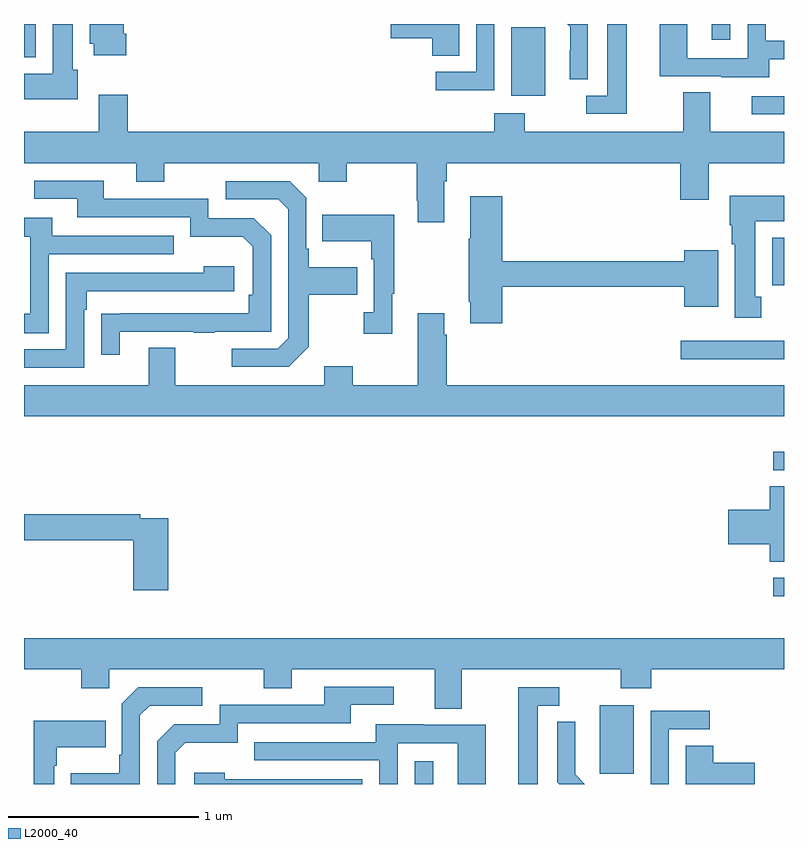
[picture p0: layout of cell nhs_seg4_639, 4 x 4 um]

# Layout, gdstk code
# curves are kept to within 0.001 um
import gdstk
lib = gdstk.Library(unit=1e-6, precision=1e-09)
def R(c, l, rs):  # rectangles x0, y0, x1, y1
    for r in rs: c.add(gdstk.rectangle(r[:2], r[2:], *l))
def P(c, l, *ps):  # polygons
    for p in ps: c.add(gdstk.Polygon(p, *l))
L2000_40 = (2000, 40)

nhs_seg4_639 = lib.new_cell('nhs_seg4_639')
R(nhs_seg4_639, L2000_40, [(145.056,778.9,145.153,779.02), (146.03,778.953,146.209,779.314), (146.943,779.887,147,779.985), (146.943,780.552,147,780.648), (146.457,781.136,147,781.233), (146.937,781.524,147,781.774), (146.829,782.424,147,782.52), (145.565,782.522,145.744,782.883), (143,782.726,143.061,782.9), (146.621,782.817,146.718,782.9)])
P(nhs_seg4_639, L2000_40, [(146.173,782.9),(146.069,782.9),(146.069,782.523),(145.959,782.523),(145.959,782.427),(146.173,782.427)],
  [(145.291,782.9),(144.93,782.9),(144.93,782.825),(145.148,782.825),(145.148,782.734),(145.291,782.734)],
  [(145.968,782.9),(145.859,782.9),(145.874,782.885),(145.874,782.762),(145.872,782.762),(145.872,782.608),(145.968,782.608)],
  [(145.476,782.9),(145.38,782.9),(145.38,782.649),(145.167,782.649),(145.167,782.551),(145.476,782.551)],
  [(143.537,782.848),(143.524,782.848),(143.524,782.9),(143.345,782.9),(143.345,782.796),(143.366,782.796),(143.366,782.736),(143.537,782.736)],
  [(143.284,782.658),(143.257,782.658),(143.257,782.9),(143.15,782.9),(143.15,782.638),(143,782.638),(143,782.504),(143.284,782.504)],
  [(146.923,782.715),(147,782.715),(147,782.811),(146.904,782.811),(146.904,782.9),(146.808,782.9),(146.808,782.721),(146.49,782.721),(146.49,782.9),(146.345,782.9),(146.345,782.625),(146.669,782.625),(146.669,782.621),(146.923,782.621)],
  [(143.546,782.527),(143.393,782.527),(143.393,782.332),(143,782.332),(143,782.168),(143.591,782.168),(143.591,782.069),(143.739,782.069),(143.739,782.168),(144.552,782.168),(144.552,782.069),(144.699,782.069),(144.699,782.168),(145.066,782.168),(145.066,781.969),(145.073,781.969),(145.073,781.857),(145.213,781.857),(145.213,782.072),(145.226,782.072),(145.226,782.168),(146.453,782.168),(146.453,781.974),(146.605,781.974),(146.605,782.168),(147,782.168),(147,782.332),(146.611,782.332),(146.611,782.54),(146.471,782.54),(146.471,782.332),(145.635,782.332),(145.635,782.431),(145.475,782.431),(145.475,782.332),(143.546,782.332)],
  [(143.503,781.281),(143.893,781.281),(143.893,781.276),(144.005,781.276),(144.005,781.281),(144.3,781.281),(144.3,781.788),(144.21,781.878),(143.97,781.878),(143.97,781.98),(143.419,781.98),(143.419,782.076),(143.055,782.076),(143.055,781.98),(143.279,781.98),(143.279,781.884),(143.874,781.884),(143.874,781.781),(144.151,781.781),(144.204,781.728),(144.204,781.474),(144.184,781.474),(144.184,781.377),(143.407,781.376),(143.407,781.158),(143.503,781.158)],
  [(144.499,781.201),(144.499,781.474),(144.755,781.474),(144.755,781.621),(144.499,781.621),(144.499,781.717),(144.486,781.717),(144.486,781.986),(144.399,782.073),(144.063,782.073),(144.063,781.977),(144.339,781.977),(144.39,781.926),(144.39,781.245),(144.336,781.191),(144.093,781.191),(144.093,781.095),(144.393,781.095)],
  [(146.881,781.465),(146.848,781.465),(146.848,781.862),(147,781.862),(147,781.996),(146.714,781.996),(146.714,781.842),(146.726,781.842),(146.726,781.742),(146.741,781.742),(146.741,781.353),(146.881,781.353)],
  [(145.517,781.516),(146.474,781.516),(146.474,781.412),(146.653,781.412),(146.653,781.708),(146.474,781.708),(146.474,781.652),(145.517,781.652),(145.517,781.993),(145.349,781.993),(145.349,781.769),(145.342,781.769),(145.342,781.438),(145.349,781.438),(145.349,781.326),(145.517,781.326)],
  [(144.937,781.481),(144.949,781.481),(144.949,781.897),(144.571,781.897),(144.571,781.757),(144.828,781.757),(144.828,781.661),(144.84,781.661),(144.84,781.382),(144.789,781.382),(144.789,781.269),(144.937,781.269)],
  [(143.13,781.689),(143.789,781.689),(143.789,781.785),(143.149,781.785),(143.149,781.879),(143,781.879),(143,781.779),(143.034,781.779),(143.034,781.374),(143,781.374),(143,781.273),(143.13,781.273)],
  [(143.316,781.397),(143.329,781.397),(143.329,781.494),(144.106,781.494),(144.106,781.624),(143.945,781.624),(143.945,781.59),(143.22,781.59),(143.22,781.188),(143,781.188),(143,781.092),(143.316,781.092)],
  [(147,781),(145.226,781),(145.226,781.265),(145.213,781.265),(145.213,781.378),(145.073,781.378),(145.073,781),(144.729,781),(144.729,781.099),(144.581,781.099),(144.581,781),(143.797,781),(143.797,781.195),(143.657,781.195),(143.657,781),(143,781),(143,780.836),(147,780.836)],
  [(147,780.467),(146.924,780.467),(146.924,780.344),(146.706,780.344),(146.706,780.161),(146.924,780.161),(146.924,780.07),(147,780.07)],
  [(143.759,780.3),(143.612,780.3),(143.612,780.32),(143,780.32),(143,780.184),(143.576,780.184),(143.576,779.919),(143.759,779.919)],
  [(145.303,779.504),(146.14,779.504),(146.14,779.405),(146.3,779.405),(146.3,779.504),(147,779.504),(147,779.668),(143,779.668),(143,779.504),(143.302,779.504),(143.302,779.405),(143.448,779.405),(143.448,779.504),(144.262,779.504),(144.262,779.405),(144.409,779.405),(144.409,779.504),(145.163,779.504),(145.163,779.296),(145.303,779.296)],
  [(143.796,779.064),(143.849,779.117),(144.126,779.117),(144.126,779.22),(144.721,779.22),(144.721,779.316),(144.946,779.316),(144.946,779.412),(144.581,779.412),(144.581,779.316),(144.03,779.316),(144.03,779.214),(143.79,779.214),(143.7,779.124),(143.7,778.9),(143.796,778.9)],
  [(143.61,779.262),(143.661,779.313),(143.938,779.313),(143.938,779.409),(143.601,779.409),(143.514,779.322),(143.514,779.053),(143.502,779.053),(143.502,778.957),(143.245,778.957),(143.245,778.9),(143.61,778.9)],
  [(145.705,779.313),(145.816,779.313),(145.816,779.409),(145.601,779.409),(145.601,778.9),(145.705,778.9)],
  [(146.394,779.187),(146.608,779.187),(146.608,779.286),(146.298,779.286),(146.298,778.9),(146.394,778.9)],
  [(143.16,778.997),(143.173,778.997),(143.173,779.093),(143.429,779.093),(143.429,779.233),(143.052,779.233),(143.052,778.9),(143.16,778.9)],
  [(145.901,778.952),(145.901,779.074),(145.902,779.074),(145.902,779.228),(145.806,779.228),(145.806,778.91),(145.816,778.9),(145.952,778.9)],
  [(144.966,779.115),(145.284,779.115),(145.284,778.9),(145.429,778.9),(145.429,779.211),(145.105,779.211),(145.105,779.215),(144.851,779.215),(144.851,779.121),(144.211,779.121),(144.211,779.025),(144.87,779.025),(144.87,778.9),(144.966,778.9)],
  [(146.845,779.012),(146.627,779.012),(146.627,779.102),(146.483,779.102),(146.483,778.9),(146.845,778.9)],
  [(144.78,778.926),(144.056,778.926),(144.056,778.96),(143.895,778.96),(143.895,778.9),(144.78,778.9)])

lib.write_gds('nhs_seg4_639.gds')
